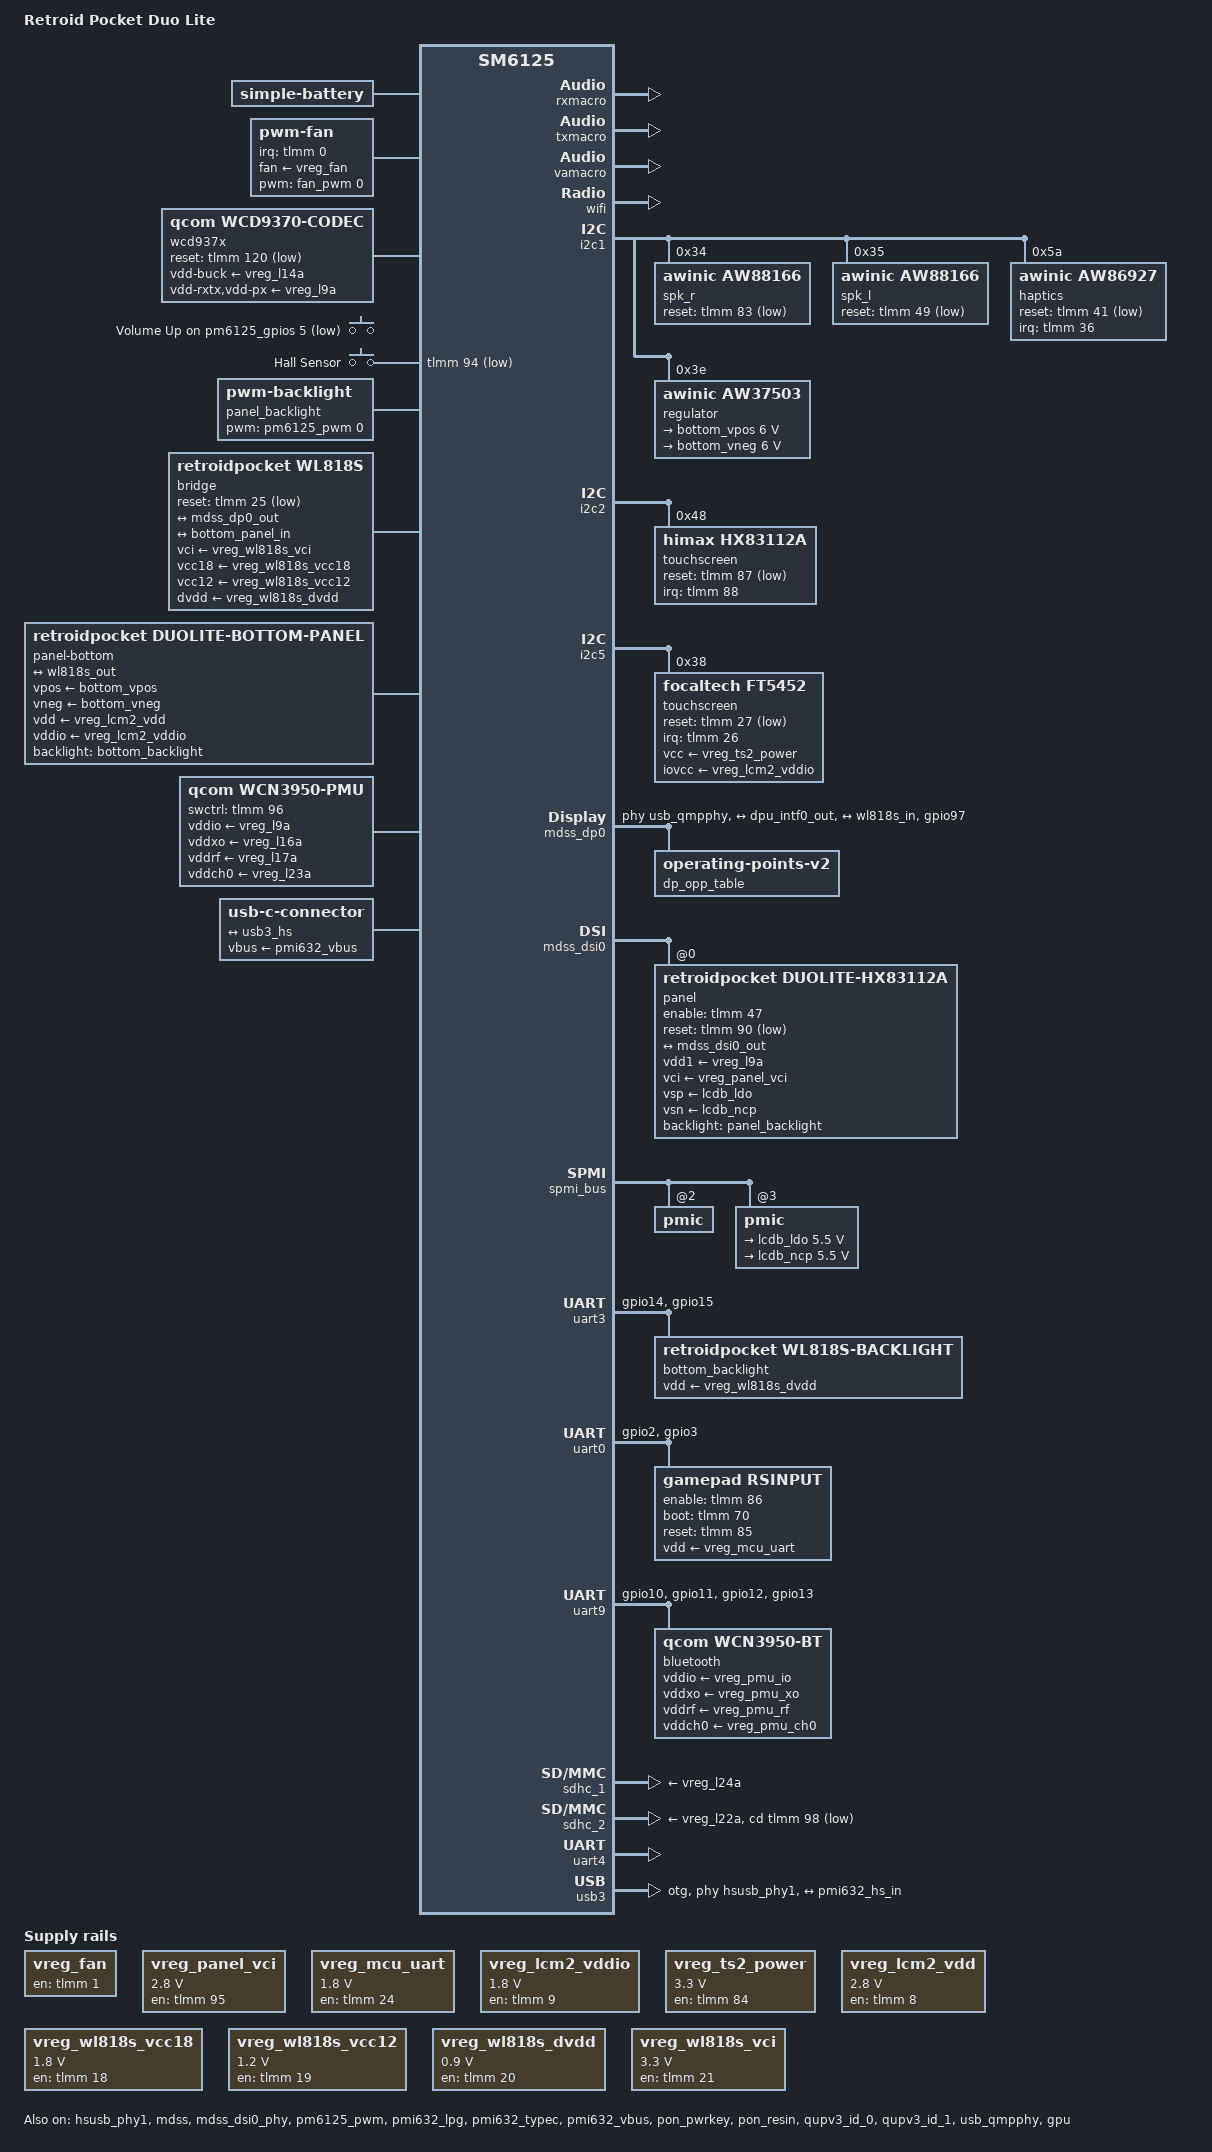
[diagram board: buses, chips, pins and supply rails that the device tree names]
// SPDX-License-Identifier: BSD-3-Clause
/*
 * Copyright (c) 2026, ROCKNIX
 */

/dts-v1/;

#include <dt-bindings/clock/qcom,sm6125-gpucc.h>
#include <dt-bindings/firmware/qcom,scm.h>
#include <dt-bindings/gpio/gpio.h>
#include <dt-bindings/input/input.h>
#include <dt-bindings/input/gpio-keys.h>
#include <dt-bindings/leds/common.h>
#include <dt-bindings/phy/phy-qcom-qmp.h>
#include <dt-bindings/pinctrl/qcom,pmic-gpio.h>
#include <dt-bindings/soc/qcom,apr.h>
#include <dt-bindings/sound/qcom,q6afe.h>
#include <dt-bindings/sound/qcom,q6asm.h>
#include <dt-bindings/thermal/thermal.h>
#include "sm6125.dtsi"
#include "pm6125.dtsi"
#include "pmi632.dtsi"

 /* The fan gains no speed past 75% for some reason, so don't bother going past that. */
#define BIG_CORE_ZONE(_lbl, _node, _sensor)					\
	_node {									\
		polling-delay-passive = <250>;					\
		polling-delay = <1000>;						\
		thermal-sensors = <&tsens0 _sensor>;				\
										\
		trips {								\
			_lbl##_fan0: fan-active0 {				\
				temperature = <45000>;				\
				hysteresis = <5000>;				\
				type = "active";				\
			};							\
			_lbl##_fan1: fan-active1 {				\
				temperature = <50000>;				\
				hysteresis = <5000>;				\
				type = "active";				\
			};							\
			_lbl##_fan2: fan-active2 {				\
				temperature = <60000>;				\
				hysteresis = <5000>;				\
				type = "active";				\
			};							\
			_lbl##_fan3: fan-active3 {				\
				temperature = <70000>;				\
				hysteresis = <5000>;				\
				type = "active";				\
			};							\
			_lbl##_fan4: fan-active4 {				\
				temperature = <80000>;				\
				hysteresis = <5000>;				\
				type = "active";				\
			};							\
			_lbl##_fan5: fan-active5 {				\
				temperature = <85000>;				\
				hysteresis = <2000>;				\
				type = "active";				\
			};							\
			_lbl##_alert: cpu-alert {				\
				temperature = <95000>;				\
				hysteresis = <2000>;				\
				type = "passive";				\
			};							\
			cpu-crit {						\
				temperature = <115000>;				\
				hysteresis = <1000>;				\
				type = "critical";				\
			};							\
		};								\
										\
		cooling-maps {							\
			map0 {							\
				trip = <&_lbl##_fan0>;				\
				cooling-device = <&fan 1 1>;			\
			};							\
			map1 {							\
				trip = <&_lbl##_fan1>;				\
				cooling-device = <&fan 2 2>;			\
			};							\
			map2 {							\
				trip = <&_lbl##_fan2>;				\
				cooling-device = <&fan 3 3>;			\
			};							\
			map3 {							\
				trip = <&_lbl##_fan3>;				\
				cooling-device = <&fan 4 4>;			\
			};							\
			map4 {							\
				trip = <&_lbl##_fan4>;				\
				cooling-device = <&fan 5 5>;			\
			};							\
			map5 {							\
				trip = <&_lbl##_fan5>;				\
				cooling-device = <&fan 6 6>;			\
			};							\
			map6 {							\
				trip = <&_lbl##_alert>;				\
				cooling-device = <&cpu4 THERMAL_NO_LIMIT THERMAL_NO_LIMIT>, \
						 <&cpu5 THERMAL_NO_LIMIT THERMAL_NO_LIMIT>, \
						 <&cpu6 THERMAL_NO_LIMIT THERMAL_NO_LIMIT>, \
						 <&cpu7 THERMAL_NO_LIMIT THERMAL_NO_LIMIT>; \
			};							\
		};								\
	}

#define LITTLE_CLUSTER_ZONE(_lbl, _node, _sensor)				\
	_node {									\
		polling-delay-passive = <250>;					\
		polling-delay = <1000>;						\
		thermal-sensors = <&tsens0 _sensor>;				\
										\
		trips {								\
			_lbl##_alert: cpu-alert {				\
				temperature = <95000>;				\
				hysteresis = <2000>;				\
				type = "passive";				\
			};							\
			cpu-crit {						\
				temperature = <115000>;				\
				hysteresis = <1000>;				\
				type = "critical";				\
			};							\
		};								\
										\
		cooling-maps {							\
			map0 {							\
				trip = <&_lbl##_alert>;				\
				cooling-device = <&cpu0 THERMAL_NO_LIMIT THERMAL_NO_LIMIT>, \
						 <&cpu1 THERMAL_NO_LIMIT THERMAL_NO_LIMIT>, \
						 <&cpu2 THERMAL_NO_LIMIT THERMAL_NO_LIMIT>, \
						 <&cpu3 THERMAL_NO_LIMIT THERMAL_NO_LIMIT>; \
			};							\
		};								\
	}

/ {
	model = "Retroid Pocket Duo Lite";
	compatible = "retroidpocket,duolite", "qcom,sm6125";
	chassis-type = "handset";

	aliases {
		mmc0 = &sdhc_2;
		mmc1 = &sdhc_1;
		serial0 = &uart4;
	};

	battery: battery {
		compatible = "simple-battery";
		voltage-min-design-microvolt = <3400000>;
		voltage-max-design-microvolt = <4500000>;
		charge-full-design-microamp-hours = <6134000>;
		constant-charge-current-max-microamp = <3000000>;
		constant-charge-voltage-max-microvolt = <4500000>;
		charge-term-current-microamp = <250000>;
		id-resistor-ohms = <100000>;

		ocv-capacity-celsius = <25>;
		ocv-capacity-table-0 = <4470400 100 4443000 98 4417400 96 4393300 94
					4369400 92 4346100 90 4322500 88 4298200 86
					4273500 84 4248600 82 4223400 80 4198600 78
					4174200 76 4150200 74 4127000 72 4104400 70
					4082700 68 4061800 66 4041900 64 4023100 62
					4005400 60 3986200 58 3964500 56 3942900 54
					3922400 52 3903000 50 3887800 48 3876000 46
					3865500 44 3855500 42 3846300 40 3838000 38
					3830300 36 3823500 34 3817700 32 3812500 30
					3807500 28 3802900 26 3797200 24 3789800 22
					3781000 20 3770900 18 3758700 16 3743900 14
					3727500 12 3713000 10 3709000 9 3706000 8
					3703800 7 3701700 6 3697300 5 3676000 4
					3631000 3 3568200 2 3477900 1 3000000 0>;
	};

	chosen {
		stdout-path = "serial0:115200n8";
	};

	fan: fan {
		compatible = "pwm-fan";
		pwms = <&fan_pwm 0 20000>;
		cooling-levels = <0 102 125 140 154 169 191>;
		#cooling-cells = <2>;
		fan-supply = <&vreg_fan>;

		interrupts-extended = <&tlmm 0 IRQ_TYPE_EDGE_FALLING>;
		pulses-per-revolution = <2>;

		pinctrl-0 = <&fan_tach_default>;
		pinctrl-names = "default";
	};

	fan_pwm: pwm {
		compatible = "clk-pwm";
		#pwm-cells = <2>;
		clocks = <&gcc GCC_GP1_CLK>;

		/* Only XO keeps the 50 kHz divider within the 8-bit M/N counter */
		assigned-clocks = <&gcc GCC_GP1_CLK_SRC>;
		assigned-clock-parents = <&rpmcc RPM_SMD_XO_CLK_SRC>;

		pinctrl-0 = <&fan_pwm_default>;
		pinctrl-names = "default";
	};

	smp2p-adsp {
		compatible = "qcom,smp2p";
		qcom,smem = <443>, <429>;

		interrupts = <GIC_SPI 393 IRQ_TYPE_EDGE_RISING>;

		mboxes = <&apcs_glb 10>;

		qcom,local-pid = <0>;
		qcom,remote-pid = <2>;

		adsp_smp2p_out: master-kernel {
			qcom,entry-name = "master-kernel";
			#qcom,smem-state-cells = <1>;
		};

		adsp_smp2p_in: slave-kernel {
			qcom,entry-name = "slave-kernel";

			interrupt-controller;
			#interrupt-cells = <2>;
		};

		adsp_sleepstate_out: sleepstate {
			qcom,entry-name = "sleepstate";
			#qcom,smem-state-cells = <1>;
		};

		adsp_sleepstate_in: sleepstate-see {
			qcom,entry-name = "sleepstate_see";

			interrupt-controller;
			#interrupt-cells = <2>;
		};
	};

	smp2p-mpss {
		compatible = "qcom,smp2p";
		qcom,smem = <435>, <428>;

		interrupts = <GIC_SPI 70 IRQ_TYPE_EDGE_RISING>;

		mboxes = <&apcs_glb 14>;

		qcom,local-pid = <0>;
		qcom,remote-pid = <1>;

		modem_smp2p_out: master-kernel {
			qcom,entry-name = "master-kernel";
			#qcom,smem-state-cells = <1>;
		};

		modem_smp2p_in: slave-kernel {
			qcom,entry-name = "slave-kernel";

			interrupt-controller;
			#interrupt-cells = <2>;
		};
	};

	sound {
		compatible = "qcom,qrb4210-rb2-sndcard";
		model = "RetroidPocketDuoLite";

		widgets = "Speaker", "SPK_L Speaker",
			  "Speaker", "SPK_R Speaker";

		pin-switches = "SPK_L Speaker", "SPK_R Speaker";

		audio-routing = "SPK_L Speaker", "SPK_L DAC Output",
				"SPK_R Speaker", "SPK_R DAC Output",
				"IN1_HPHL", "HPHL_OUT",
				"IN2_HPHR", "HPHR_OUT",
				"AMIC2", "MIC BIAS2",
				"TX SWR_INPUT1", "ADC2_OUTPUT";

		pinctrl-0 = <&pri_mi2s_active>, <&dmic23_active>;
		pinctrl-names = "default";

		mm1-dai-link {
			link-name = "MultiMedia1";
			cpu {
				sound-dai = <&q6asmdai MSM_FRONTEND_DAI_MULTIMEDIA1>;
			};
		};

		mm2-dai-link {
			link-name = "MultiMedia2";
			cpu {
				sound-dai = <&q6asmdai MSM_FRONTEND_DAI_MULTIMEDIA2>;
			};
		};

		mm3-dai-link {
			link-name = "MultiMedia3";
			cpu {
				sound-dai = <&q6asmdai MSM_FRONTEND_DAI_MULTIMEDIA3>;
			};
		};

		pri-mi2s-playback-dai-link {
			link-name = "Primary MI2S Playback";
			cpu {
				sound-dai = <&q6afedai PRIMARY_MI2S_RX>;
			};

			platform {
				sound-dai = <&q6routing>;
			};

			codec {
				sound-dai = <&spk_l>, <&spk_r>;
			};
		};

		wcd-playback-dai-link {
			link-name = "WCD Playback";
			cpu {
				sound-dai = <&q6afedai RX_CODEC_DMA_RX_0>;
			};

			platform {
				sound-dai = <&q6routing>;
			};

			codec {
				sound-dai = <&wcd937x 0>, <&swr_rx 0>, <&rxmacro 0>;
			};
		};

		wcd-capture-dai-link {
			link-name = "WCD Capture";
			cpu {
				sound-dai = <&q6afedai TX_CODEC_DMA_TX_3>;
			};

			platform {
				sound-dai = <&q6routing>;
			};

			codec {
				sound-dai = <&wcd937x 1>, <&swr_tx 0>, <&txmacro 0>;
			};
		};
	};

	wcd937x: audio-codec {
		compatible = "qcom,wcd9370-codec";

		pinctrl-0 = <&wcd_reset_default>;
		pinctrl-names = "default";

		reset-gpios = <&tlmm 120 GPIO_ACTIVE_LOW>;

		vdd-buck-supply = <&vreg_l14a>;
		vdd-rxtx-supply = <&vreg_l9a>;
		vdd-px-supply = <&vreg_l9a>;

		qcom,micbias1-microvolt = <1800000>;
		qcom,micbias2-microvolt = <1800000>;
		qcom,micbias3-microvolt = <1800000>;

		qcom,rx-device = <&wcd937x_rx>;
		qcom,tx-device = <&wcd937x_tx>;

		qcom,mbhc-buttons-vthreshold-microvolt = <75000 150000 237000
							  500000 500000 500000
							  500000 500000>;
		qcom,mbhc-headphone-vthreshold-microvolt = <50000>;
		qcom,mbhc-headset-vthreshold-microvolt = <1700000>;

		#sound-dai-cells = <1>;
	};

	vreg_fan: regulator-fan {
		compatible = "regulator-fixed";
		regulator-name = "fan";

		gpio = <&tlmm 1 GPIO_ACTIVE_HIGH>;
		enable-active-high;

		pinctrl-0 = <&fan_en_default>;
		pinctrl-names = "default";
	};

	thermal-zones {
		LITTLE_CLUSTER_ZONE(cpuss0, cpuss-0-thermal, 6);
		LITTLE_CLUSTER_ZONE(cpuss1, cpuss-1-thermal, 7);
		LITTLE_CLUSTER_ZONE(cpuss2, cpuss-2-thermal, 8);
		BIG_CORE_ZONE(cpu10, cpu-1-0-thermal, 9);
		BIG_CORE_ZONE(cpu11, cpu-1-1-thermal, 10);
		BIG_CORE_ZONE(cpu12, cpu-1-2-thermal, 11);
		BIG_CORE_ZONE(cpu13, cpu-1-3-thermal, 12);

		gpu-thermal {
			polling-delay-passive = <250>;
			polling-delay = <1000>;
			thermal-sensors = <&tsens0 15>;

			trips {
				gpu_alert: gpu-alert {
					temperature = <95000>;
					hysteresis = <2000>;
					type = "passive";
				};

				gpu-crit {
					temperature = <115000>;
					hysteresis = <1000>;
					type = "critical";
				};
			};

			cooling-maps {
				map0 {
					trip = <&gpu_alert>;
					cooling-device = <&gpu THERMAL_NO_LIMIT THERMAL_NO_LIMIT>;
				};
			};
		};

		pmi632-thermal {
			polling-delay = <1000>;

			trips {
				pmi632_charger_warm: charger-warm {
					temperature = <70000>;
					hysteresis = <2000>;
					type = "passive";
				};

				pmi632_charger_hot: charger-hot {
					temperature = <80000>;
					hysteresis = <2000>;
					type = "passive";
				};

				pmi632_charger_very_hot: charger-very-hot {
					temperature = <90000>;
					hysteresis = <2000>;
					type = "passive";
				};
			};

			cooling-maps {
				map-charger-warm {
					trip = <&pmi632_charger_warm>;
					cooling-device = <&pmi632_charger 1 1>;
				};

				map-charger-hot {
					trip = <&pmi632_charger_hot>;
					cooling-device = <&pmi632_charger 2 2>;
				};

				map-charger-very-hot {
					trip = <&pmi632_charger_very_hot>;
					cooling-device = <&pmi632_charger 3 3>;
				};
			};
		};
	};

	gpio-keys {
		compatible = "gpio-keys";

		pinctrl-0 = <&vol_up_n>;
		pinctrl-names = "default";

		key-volume-up {
			label = "Volume Up";
			gpios = <&pm6125_gpios 5 GPIO_ACTIVE_LOW>;
			linux,code = <KEY_VOLUMEUP>;
			debounce-interval = <15>;
			linux,can-disable;
			wakeup-source;
		};
	};

	gpio-keys-lid {
		compatible = "gpio-keys";

		pinctrl-0 = <&hall_default>;
		pinctrl-names = "default";

		lid-switch {
			label = "Hall Sensor";
			gpios = <&tlmm 94 GPIO_ACTIVE_LOW>;
			linux,code = <SW_LID>;
			linux,input-type = <EV_SW>;
			linux,can-disable;
			wakeup-source;
		};
	};

	panel_backlight: backlight {
		compatible = "pwm-backlight";
		pwms = <&pm6125_pwm 0 100000>;

		brightness-levels = <0 255>;
		num-interpolated-steps = <255>;
		default-brightness-level = <200>;
	};

	bridge {
		compatible = "retroidpocket,wl818s";

		vci-supply = <&vreg_wl818s_vci>;
		vcc18-supply = <&vreg_wl818s_vcc18>;
		vcc12-supply = <&vreg_wl818s_vcc12>;
		dvdd-supply = <&vreg_wl818s_dvdd>;

		reset-gpios = <&tlmm 25 GPIO_ACTIVE_LOW>;

		pinctrl-0 = <&wl818s_boot_default>;
		pinctrl-names = "default";

		ports {
			#address-cells = <1>;
			#size-cells = <0>;

			port@0 {
				reg = <0>;

				wl818s_in: endpoint {
					remote-endpoint = <&mdss_dp0_out>;
				};
			};

			port@1 {
				reg = <1>;

				wl818s_out: endpoint {
					remote-endpoint = <&bottom_panel_in>;
				};
			};
		};
	};

	panel-bottom {
		compatible = "retroidpocket,duolite-bottom-panel";

		vpos-supply = <&bottom_vpos>;
		vneg-supply = <&bottom_vneg>;
		vdd-supply = <&vreg_lcm2_vdd>;
		vddio-supply = <&vreg_lcm2_vddio>;
		backlight = <&bottom_backlight>;

		port {
			bottom_panel_in: endpoint {
				remote-endpoint = <&wl818s_out>;
			};
		};
	};

	vreg_panel_vci: regulator-panel-vci {
		compatible = "regulator-fixed";
		regulator-name = "panel_vci";
		regulator-min-microvolt = <2800000>;
		regulator-max-microvolt = <2800000>;

		gpio = <&tlmm 95 GPIO_ACTIVE_HIGH>;
		enable-active-high;

		pinctrl-0 = <&panel_vci_en>;
		pinctrl-names = "default";
	};

	vreg_mcu_uart: regulator-mcu-uart {
		compatible = "regulator-fixed";
		regulator-name = "mcu_uart";
		regulator-min-microvolt = <1800000>;
		regulator-max-microvolt = <1800000>;

		gpio = <&tlmm 24 GPIO_ACTIVE_HIGH>;
		enable-active-high;
		startup-delay-us = <20000>;
	};

	vreg_lcm2_vddio: regulator-lcm2-vddio {
		compatible = "regulator-fixed";
		regulator-name = "lcm2_vddio";
		regulator-min-microvolt = <1800000>;
		regulator-max-microvolt = <1800000>;

		gpio = <&tlmm 9 GPIO_ACTIVE_HIGH>;
		enable-active-high;
	};

	vreg_ts2_power: regulator-ts2-power {
		compatible = "regulator-fixed";
		regulator-name = "ts2_power";
		regulator-min-microvolt = <3300000>;
		regulator-max-microvolt = <3300000>;

		gpio = <&tlmm 84 GPIO_ACTIVE_HIGH>;
		enable-active-high;
	};

	vreg_lcm2_vdd: regulator-lcm2-vdd {
		compatible = "regulator-fixed";
		regulator-name = "lcm2_vdd";
		regulator-min-microvolt = <2800000>;
		regulator-max-microvolt = <2800000>;

		gpio = <&tlmm 8 GPIO_ACTIVE_HIGH>;
		enable-active-high;
	};

	vreg_wl818s_vcc18: regulator-wl818s-vcc18 {
		compatible = "regulator-fixed";
		regulator-name = "wl818s_vcc18";
		regulator-min-microvolt = <1800000>;
		regulator-max-microvolt = <1800000>;

		gpio = <&tlmm 18 GPIO_ACTIVE_HIGH>;
		enable-active-high;
	};

	vreg_wl818s_vcc12: regulator-wl818s-vcc12 {
		compatible = "regulator-fixed";
		regulator-name = "wl818s_vcc12";
		regulator-min-microvolt = <1200000>;
		regulator-max-microvolt = <1200000>;

		gpio = <&tlmm 19 GPIO_ACTIVE_HIGH>;
		enable-active-high;
	};

	vreg_wl818s_dvdd: regulator-wl818s-dvdd {
		compatible = "regulator-fixed";
		regulator-name = "wl818s_dvdd";
		regulator-min-microvolt = <900000>;
		regulator-max-microvolt = <900000>;

		gpio = <&tlmm 20 GPIO_ACTIVE_HIGH>;
		enable-active-high;
	};

	vreg_wl818s_vci: regulator-wl818s-vci {
		compatible = "regulator-fixed";
		regulator-name = "wl818s_vci";
		regulator-min-microvolt = <3300000>;
		regulator-max-microvolt = <3300000>;

		gpio = <&tlmm 21 GPIO_ACTIVE_HIGH>;
		enable-active-high;
	};

	wcn3950-pmu {
		compatible = "qcom,wcn3950-pmu";

		pinctrl-0 = <&sw_ctrl_default>;
		pinctrl-names = "default";

		vddio-supply = <&vreg_l9a>;
		vddxo-supply = <&vreg_l16a>;
		vddrf-supply = <&vreg_l17a>;
		vddch0-supply = <&vreg_l23a>;

		swctrl-gpios = <&tlmm 96 GPIO_ACTIVE_HIGH>;

		regulators {
			vreg_pmu_io: ldo0 {
				regulator-name = "vreg_pmu_io";
			};

			vreg_pmu_xo: ldo1 {
				regulator-name = "vreg_pmu_xo";
			};

			vreg_pmu_rf: ldo2 {
				regulator-name = "vreg_pmu_rf";
			};

			vreg_pmu_ch0: ldo3 {
				regulator-name = "vreg_pmu_ch0";
			};
		};
	};
};

/*
 * The hypervisor owns 73 MiB here, not the 45 MiB sm6125.dtsi reserves;
 * see "arm64: dts: qcom: sm6125-xiaomi-laurel-sprout: enlarge reserved_mem1".
 */
&reserved_mem1 {
	reg = <0x0 0x46200000 0x0 0x4900000>;
};

/* Stock allocates this dynamically; the sm6115 placement is free here */
&reserved_memory {
	rmtfs_mem: memory@89b01000 {
		compatible = "qcom,rmtfs-mem";
		reg = <0x0 0x89b01000 0x0 0x200000>;
		no-map;

		qcom,client-id = <1>;
		qcom,vmid = <QCOM_SCM_VMID_MSS_MSA QCOM_SCM_VMID_NAV>;
	};
};

/* Same OSM cpufreq block and layout as SM6115, missing from sm6125.dtsi */
&{/soc@0} {
	tcsr: syscon@3c0000 {
		compatible = "qcom,sm6125-tcsr", "syscon";
		reg = <0x003c0000 0x40000>;
	};

	usb_qmpphy: phy@1615000 {
		compatible = "qcom,sm6125-qmp-usb3-dp-phy",
			     "qcom,qcs615-qmp-usb3-dp-phy";
		reg = <0x01615000 0x2000>;

		clocks = <&gcc GCC_USB3_PRIM_PHY_COM_AUX_CLK>,
			 <&gcc GCC_USB3_PRIM_CLKREF_CLK>,
			 <&gcc GCC_AHB2PHY_USB_CLK>,
			 <&gcc GCC_USB3_PRIM_PHY_PIPE_CLK>;
		clock-names = "aux",
			      "ref",
			      "cfg_ahb",
			      "pipe";

		resets = <&gcc GCC_USB3PHY_PHY_PRIM_SP0_BCR>,
			 <&gcc GCC_USB3_PHY_PRIM_SP0_BCR>;
		reset-names = "phy_phy",
			      "dp_phy";

		vdda-phy-supply = <&vreg_l7a>;
		vdda-pll-supply = <&vreg_l10a>;

		#clock-cells = <1>;
		#phy-cells = <1>;

		qcom,tcsr-reg = <&tcsr 0xb244 0xb248>;

		status = "okay";
	};

	gpu: gpu@5900000 {
		compatible = "qcom,adreno-610.0", "qcom,adreno";
		reg = <0x05900000 0x40000>,
		      <0x0599e000 0x1000>,
		      <0x05961000 0x800>;
		reg-names = "kgsl_3d0_reg_memory",
			    "cx_mem",
			    "cx_dbgc";

		clocks = <&gpucc GPU_CC_GX_GFX3D_CLK>,
			 <&gpucc GPU_CC_AHB_CLK>,
			 <&gcc GCC_BIMC_GPU_AXI_CLK>,
			 <&gcc GCC_GPU_MEMNOC_GFX_CLK>,
			 <&gpucc GPU_CC_CX_GMU_CLK>,
			 <&gpucc GPU_CC_CXO_CLK>;
		clock-names = "core",
			      "iface",
			      "mem_iface",
			      "alt_mem_iface",
			      "gmu",
			      "xo";

		interrupts = <GIC_SPI 177 IRQ_TYPE_LEVEL_HIGH>;

		iommus = <&adreno_smmu 0 1>;
		operating-points-v2 = <&gpu_opp_table>;
		power-domains = <&rpmpd RPMPD_VDDCX>;
		qcom,gmu = <&gmu_wrapper>;

		#cooling-cells = <2>;

		status = "okay";

		gpu_zap_shader: zap-shader {
			memory-region = <&gpu_mem>;
			firmware-name = "qcom/sm6125/a610_zap.mbn";
		};

		gpu_opp_table: opp-table {
			compatible = "operating-points-v2";

			opp-320000000 {
				opp-hz = /bits/ 64 <320000000>;
				required-opps = <&rpmpd_opp_low_svs>;
			};

			opp-465000000 {
				opp-hz = /bits/ 64 <465000000>;
				required-opps = <&rpmpd_opp_svs>;
			};

			opp-600000000 {
				opp-hz = /bits/ 64 <600000000>;
				required-opps = <&rpmpd_opp_svs_plus>;
			};

			opp-745000000 {
				opp-hz = /bits/ 64 <745000000>;
				required-opps = <&rpmpd_opp_nom>;
			};

			opp-820000000 {
				opp-hz = /bits/ 64 <820000000>;
				required-opps = <&rpmpd_opp_nom_plus>;
			};

			opp-900000000 {
				opp-hz = /bits/ 64 <900000000>;
				required-opps = <&rpmpd_opp_turbo>;
			};

			/* Downstream TURBO_L1; stability still unverified */
			opp-950000000 {
				opp-hz = /bits/ 64 <950000000>;
				required-opps = <&rpmpd_opp_turbo_no_cpr>;
			};
		};
	};

	gmu_wrapper: gmu@596a000 {
		compatible = "qcom,adreno-gmu-wrapper";
		reg = <0x0596a000 0x30000>;
		reg-names = "gmu";
		power-domains = <&gpucc GPU_CX_GDSC>,
				<&gpucc GPU_GX_GDSC>;
		power-domain-names = "cx", "gx";
	};

	gpucc: clock-controller@5990000 {
		compatible = "qcom,sm6125-gpucc";
		reg = <0x05990000 0x9000>;
		clocks = <&rpmcc RPM_SMD_XO_CLK_SRC>,
			 <&gcc GCC_GPU_GPLL0_CLK_SRC>;
		#clock-cells = <1>;
		#power-domain-cells = <1>;
	};

	adreno_smmu: iommu@59a0000 {
		compatible = "qcom,sm6125-smmu-500", "qcom,adreno-smmu",
			     "qcom,smmu-500", "arm,mmu-500";
		reg = <0x059a0000 0x10000>;
		interrupts = <GIC_SPI 163 IRQ_TYPE_LEVEL_HIGH>,
			     <GIC_SPI 167 IRQ_TYPE_LEVEL_HIGH>,
			     <GIC_SPI 168 IRQ_TYPE_LEVEL_HIGH>,
			     <GIC_SPI 169 IRQ_TYPE_LEVEL_HIGH>,
			     <GIC_SPI 170 IRQ_TYPE_LEVEL_HIGH>,
			     <GIC_SPI 171 IRQ_TYPE_LEVEL_HIGH>,
			     <GIC_SPI 172 IRQ_TYPE_LEVEL_HIGH>,
			     <GIC_SPI 173 IRQ_TYPE_LEVEL_HIGH>,
			     <GIC_SPI 174 IRQ_TYPE_LEVEL_HIGH>;

		clocks = <&gcc GCC_GPU_MEMNOC_GFX_CLK>,
			 <&gpucc GPU_CC_HLOS1_VOTE_GPU_SMMU_CLK>,
			 <&gcc GCC_GPU_SNOC_DVM_GFX_CLK>;
		clock-names = "mem",
			      "hlos",
			      "iface";
		power-domains = <&gpucc GPU_CX_GDSC>;

		#global-interrupts = <1>;
		#iommu-cells = <2>;
	};

	cpufreq_hw: cpufreq@f521000 {
		compatible = "qcom,sm6125-cpufreq-hw", "qcom,cpufreq-hw";
		reg = <0x0f521000 0x1000>,
		      <0x0f523000 0x1000>;
		reg-names = "freq-domain0", "freq-domain1";

		clocks = <&rpmcc RPM_SMD_XO_CLK_SRC>, <&gcc GPLL0_OUT_EARLY>;
		clock-names = "xo", "alternate";

		#freq-domain-cells = <1>;
		#clock-cells = <1>;
	};

	tsens0: thermal-sensor@4411000 {
		compatible = "qcom,sm6125-tsens", "qcom,tsens-v2";
		reg = <0x04411000 0x1ff>, /* TM */
		      <0x04410000 0x8>; /* SROT */
		#qcom,sensors = <16>;
		interrupts = <GIC_SPI 190 IRQ_TYPE_LEVEL_HIGH>;
		interrupt-names = "critical";
		#thermal-sensor-cells = <1>;
	};

	rxmacro: codec@a440000 {
		compatible = "qcom,sm6125-lpass-rx-macro", "qcom,sm6115-lpass-rx-macro";
		reg = <0x0a440000 0x1000>;

		clocks = <&q6afecc LPASS_CLK_ID_RX_CORE_MCLK LPASS_CLK_ATTRIBUTE_COUPLE_NO>,
			 <&q6afecc LPASS_CLK_ID_RX_CORE_NPL_MCLK LPASS_CLK_ATTRIBUTE_COUPLE_NO>,
			 <&vamacro>;
		clock-names = "mclk", "npl", "fsgen";

		assigned-clocks = <&q6afecc LPASS_CLK_ID_RX_CORE_MCLK LPASS_CLK_ATTRIBUTE_COUPLE_NO>,
				  <&q6afecc LPASS_CLK_ID_RX_CORE_NPL_MCLK LPASS_CLK_ATTRIBUTE_COUPLE_NO>;
		assigned-clock-rates = <22579200>, <22579200>;

		#clock-cells = <0>;
		clock-output-names = "mclk";
		#sound-dai-cells = <1>;
	};

	swr_rx: soundwire@a450000 {
		compatible = "qcom,soundwire-v1.5.1";
		reg = <0x0a450000 0x2000>;
		interrupts = <GIC_SPI 188 IRQ_TYPE_LEVEL_HIGH>;
		clocks = <&rxmacro>;
		clock-names = "iface";
		label = "RX";

		pinctrl-0 = <&rx_swr_active>;
		pinctrl-names = "default";

		qcom,din-ports = <0>;
		qcom,dout-ports = <5>;

		qcom,ports-word-length =	/bits/ 8 <0x01 0x07 0x04 0xff 0xff>;
		qcom,ports-sinterval-low =	/bits/ 8 <0x03 0x3f 0x1f 0x03 0x03>;
		qcom,ports-offset1 =		/bits/ 8 <0x00 0x00 0x0b 0x01 0x01>;
		qcom,ports-offset2 =		/bits/ 8 <0x00 0x00 0x0b 0x00 0x00>;
		qcom,ports-lane-control =	/bits/ 8 <0x01 0x00 0x00 0x00 0x00>;
		qcom,ports-block-pack-mode =	/bits/ 8 <0xff 0x00 0x01 0xff 0xff>;
		qcom,ports-hstart =		/bits/ 8 <0xff 0x03 0xff 0xff 0xff>;
		qcom,ports-hstop =		/bits/ 8 <0xff 0x06 0xff 0xff 0xff>;
		qcom,ports-block-group-count =	/bits/ 8 <0xff 0xff 0xff 0xff 0x00>;

		#sound-dai-cells = <1>;
		#address-cells = <2>;
		#size-cells = <0>;

		wcd937x_rx: codec@0,4 {
			compatible = "sdw20217010a00";
			reg = <0 4>;
			qcom,rx-port-mapping = <1 2 3 4 5>;
		};
	};

	txmacro: codec@a460000 {
		compatible = "qcom,sm6125-lpass-tx-macro", "qcom,sm6115-lpass-tx-macro";
		reg = <0x0a460000 0x1000>;

		clocks = <&q6afecc LPASS_CLK_ID_TX_CORE_MCLK LPASS_CLK_ATTRIBUTE_COUPLE_NO>,
			 <&q6afecc LPASS_CLK_ID_TX_CORE_NPL_MCLK LPASS_CLK_ATTRIBUTE_COUPLE_NO>,
			 <&vamacro>;
		clock-names = "mclk", "npl", "fsgen";

		assigned-clocks = <&q6afecc LPASS_CLK_ID_TX_CORE_MCLK LPASS_CLK_ATTRIBUTE_COUPLE_NO>,
				  <&q6afecc LPASS_CLK_ID_TX_CORE_NPL_MCLK LPASS_CLK_ATTRIBUTE_COUPLE_NO>;
		assigned-clock-rates = <19200000>, <19200000>;

		#clock-cells = <0>;
		clock-output-names = "mclk";
		#sound-dai-cells = <1>;
	};

	swr_tx: soundwire@a470000 {
		compatible = "qcom,soundwire-v1.5.1";
		reg = <0x0a470000 0x2000>;
		interrupts = <GIC_SPI 184 IRQ_TYPE_LEVEL_HIGH>;
		clocks = <&txmacro>;
		clock-names = "iface";
		label = "TX";

		pinctrl-0 = <&tx_swr_active>;
		pinctrl-names = "default";

		qcom,din-ports = <3>;
		qcom,dout-ports = <0>;

		qcom,ports-sinterval-low =	/bits/ 8 <0x01 0x03 0x03>;
		qcom,ports-offset1 =		/bits/ 8 <0x01 0x00 0x02>;
		qcom,ports-offset2 =		/bits/ 8 <0x00 0x00 0x00>;
		qcom,ports-hstart =		/bits/ 8 <0xff 0xff 0xff>;
		qcom,ports-hstop =		/bits/ 8 <0xff 0xff 0xff>;
		qcom,ports-word-length =	/bits/ 8 <0xff 0x00 0xff>;
		qcom,ports-block-pack-mode =	/bits/ 8 <0xff 0xff 0xff>;
		qcom,ports-block-group-count =	/bits/ 8 <0xff 0xff 0xff>;
		qcom,ports-lane-control =	/bits/ 8 <0x00 0x01 0x00>;

		#sound-dai-cells = <1>;
		#address-cells = <2>;
		#size-cells = <0>;

		wcd937x_tx: codec@0,3 {
			compatible = "sdw20217010a00";
			reg = <0 3>;
			qcom,tx-port-mapping = <1 1 2 3>;
		};
	};

	vamacro: codec@a4a0000 {
		compatible = "qcom,sm6125-lpass-va-macro", "qcom,sm8250-lpass-va-macro";
		reg = <0x0a4a0000 0x1000>;

		clocks = <&q6afecc LPASS_CLK_ID_TX_CORE_MCLK LPASS_CLK_ATTRIBUTE_COUPLE_NO>;
		clock-names = "mclk";

		assigned-clocks = <&q6afecc LPASS_CLK_ID_TX_CORE_MCLK LPASS_CLK_ATTRIBUTE_COUPLE_NO>;
		assigned-clock-rates = <19200000>;

		#clock-cells = <0>;
		clock-output-names = "fsgen";
		#sound-dai-cells = <1>;
	};

	remoteproc_mpss: remoteproc@6080000 {
		compatible = "qcom,sm6125-mpss-pas", "qcom,sm6115-mpss-pas";
		reg = <0x06080000 0x100>;

		interrupts-extended = <&intc GIC_SPI 307 IRQ_TYPE_EDGE_RISING>,
				      <&modem_smp2p_in 0 IRQ_TYPE_EDGE_RISING>,
				      <&modem_smp2p_in 1 IRQ_TYPE_EDGE_RISING>,
				      <&modem_smp2p_in 2 IRQ_TYPE_EDGE_RISING>,
				      <&modem_smp2p_in 3 IRQ_TYPE_EDGE_RISING>,
				      <&modem_smp2p_in 7 IRQ_TYPE_EDGE_RISING>;
		interrupt-names = "wdog", "fatal", "ready", "handover",
				  "stop-ack", "shutdown-ack";

		clocks = <&rpmcc RPM_SMD_XO_CLK_SRC>;
		clock-names = "xo";

		power-domains = <&rpmpd SM6125_VDDCX>;

		memory-region = <&modem_mem>;

		qcom,smem-states = <&modem_smp2p_out 0>;
		qcom,smem-state-names = "stop";

		firmware-name = "qcom/sm6125/modem.mbn";

		glink-edge {
			interrupts = <GIC_SPI 68 IRQ_TYPE_EDGE_RISING>;
			label = "mpss";
			qcom,remote-pid = <1>;
			mboxes = <&apcs_glb 12>;
		};
	};

	/* The stock "trinket" ADSP matches the SM6115 PAS profile; values are from it */
	remoteproc_adsp: remoteproc@ab00000 {
		compatible = "qcom,sm6125-adsp-pas", "qcom,sm6115-adsp-pas";
		reg = <0x0ab00000 0x100>;

		interrupts-extended = <&intc GIC_SPI 396 IRQ_TYPE_EDGE_RISING>,
				      <&adsp_smp2p_in 0 IRQ_TYPE_EDGE_RISING>,
				      <&adsp_smp2p_in 1 IRQ_TYPE_EDGE_RISING>,
				      <&adsp_smp2p_in 2 IRQ_TYPE_EDGE_RISING>,
				      <&adsp_smp2p_in 3 IRQ_TYPE_EDGE_RISING>;
		interrupt-names = "wdog", "fatal", "ready",
				  "handover", "stop-ack";

		clocks = <&rpmcc RPM_SMD_XO_CLK_SRC>;
		clock-names = "xo";

		memory-region = <&adsp_pil_mem>;

		qcom,smem-states = <&adsp_smp2p_out 0>;
		qcom,smem-state-names = "stop";

		firmware-name = "qcom/sm6125/adsp.mbn";

		glink-edge {
			interrupts = <GIC_SPI 391 IRQ_TYPE_EDGE_RISING>;
			label = "lpass";
			qcom,remote-pid = <2>;
			mboxes = <&apcs_glb 8>;

			apr {
				compatible = "qcom,apr-v2";
				qcom,glink-channels = "apr_audio_svc";
				qcom,domain = <APR_DOMAIN_ADSP>;
				#address-cells = <1>;
				#size-cells = <0>;

				service@3 {
					reg = <APR_SVC_ADSP_CORE>;
					compatible = "qcom,q6core";
					qcom,protection-domain = "avs/audio",
								 "msm/adsp/audio_pd";
				};

				q6afe: service@4 {
					compatible = "qcom,q6afe";
					reg = <APR_SVC_AFE>;
					qcom,protection-domain = "avs/audio",
								 "msm/adsp/audio_pd";

					q6afedai: dais {
						compatible = "qcom,q6afe-dais";
						#address-cells = <1>;
						#size-cells = <0>;
						#sound-dai-cells = <1>;

						/* Stock enables both data lines; start with SD0 */
						dai@16 {
							reg = <PRIMARY_MI2S_RX>;
							qcom,sd-lines = <0>;
						};
					};

					q6afecc: clock-controller {
						compatible = "qcom,q6afe-clocks";
						#clock-cells = <2>;
					};
				};

				q6asm: service@7 {
					compatible = "qcom,q6asm";
					reg = <APR_SVC_ASM>;
					qcom,protection-domain = "avs/audio",
								 "msm/adsp/audio_pd";

					q6asmdai: dais {
						compatible = "qcom,q6asm-dais";
						#address-cells = <1>;
						#size-cells = <0>;
						#sound-dai-cells = <1>;
						iommus = <&apps_smmu 0x41 0x0>;

						dai@0 {
							reg = <MSM_FRONTEND_DAI_MULTIMEDIA1>;
						};

						dai@1 {
							reg = <MSM_FRONTEND_DAI_MULTIMEDIA2>;
						};

						dai@2 {
							reg = <MSM_FRONTEND_DAI_MULTIMEDIA3>;
						};
					};
				};

				q6adm: service@8 {
					compatible = "qcom,q6adm";
					reg = <APR_SVC_ADM>;
					qcom,protection-domain = "avs/audio",
								 "msm/adsp/audio_pd";

					q6routing: routing {
						compatible = "qcom,q6adm-routing";
						#sound-dai-cells = <0>;
					};
				};
			};
		};
	};

	wifi: wifi@c800000 {
		compatible = "qcom,wcn3990-wifi";
		reg = <0x0c800000 0x800000>;
		reg-names = "membase";
		memory-region = <&wlan_msa_mem>;
		interrupts = <GIC_SPI 358 IRQ_TYPE_LEVEL_HIGH>,
			     <GIC_SPI 359 IRQ_TYPE_LEVEL_HIGH>,
			     <GIC_SPI 360 IRQ_TYPE_LEVEL_HIGH>,
			     <GIC_SPI 361 IRQ_TYPE_LEVEL_HIGH>,
			     <GIC_SPI 362 IRQ_TYPE_LEVEL_HIGH>,
			     <GIC_SPI 363 IRQ_TYPE_LEVEL_HIGH>,
			     <GIC_SPI 364 IRQ_TYPE_LEVEL_HIGH>,
			     <GIC_SPI 365 IRQ_TYPE_LEVEL_HIGH>,
			     <GIC_SPI 366 IRQ_TYPE_LEVEL_HIGH>,
			     <GIC_SPI 367 IRQ_TYPE_LEVEL_HIGH>,
			     <GIC_SPI 368 IRQ_TYPE_LEVEL_HIGH>,
			     <GIC_SPI 369 IRQ_TYPE_LEVEL_HIGH>;
		iommus = <&apps_smmu 0x80 0x1>;
		qcom,msa-fixed-perm;

		vdd-0.8-cx-mx-supply = <&vreg_l8a>;
		vdd-1.8-xo-supply = <&vreg_pmu_xo>;
		vdd-1.3-rfa-supply = <&vreg_pmu_rf>;
		vdd-3.3-ch0-supply = <&vreg_pmu_ch0>;

		firmware-name = "retroid-duolite";
	};
};

&cpu0 {
	clocks = <&cpufreq_hw 0>;
	power-domains = <&cpu_pd0>;
	power-domain-names = "psci";
	qcom,freq-domain = <&cpufreq_hw 0>;
	#cooling-cells = <2>;
};

&cpu1 {
	clocks = <&cpufreq_hw 0>;
	power-domains = <&cpu_pd1>;
	power-domain-names = "psci";
	qcom,freq-domain = <&cpufreq_hw 0>;
	#cooling-cells = <2>;
};

&cpu2 {
	clocks = <&cpufreq_hw 0>;
	power-domains = <&cpu_pd2>;
	power-domain-names = "psci";
	qcom,freq-domain = <&cpufreq_hw 0>;
	#cooling-cells = <2>;
};

&cpu3 {
	clocks = <&cpufreq_hw 0>;
	power-domains = <&cpu_pd3>;
	power-domain-names = "psci";
	qcom,freq-domain = <&cpufreq_hw 0>;
	#cooling-cells = <2>;
};

&cpu4 {
	clocks = <&cpufreq_hw 1>;
	power-domains = <&cpu_pd4>;
	power-domain-names = "psci";
	qcom,freq-domain = <&cpufreq_hw 1>;
	#cooling-cells = <2>;
};

&cpu5 {
	clocks = <&cpufreq_hw 1>;
	power-domains = <&cpu_pd5>;
	power-domain-names = "psci";
	qcom,freq-domain = <&cpufreq_hw 1>;
	#cooling-cells = <2>;
};

&cpu6 {
	clocks = <&cpufreq_hw 1>;
	power-domains = <&cpu_pd6>;
	power-domain-names = "psci";
	qcom,freq-domain = <&cpufreq_hw 1>;
	#cooling-cells = <2>;
};

&cpu7 {
	clocks = <&cpufreq_hw 1>;
	power-domains = <&cpu_pd7>;
	power-domain-names = "psci";
	qcom,freq-domain = <&cpufreq_hw 1>;
	#cooling-cells = <2>;
};

&hsusb_phy1 {
	vdd-supply = <&vreg_l7a>;
	vdda-pll-supply = <&vreg_l10a>;
	vdda-phy-dpdm-supply = <&vreg_l15a>;
	status = "okay";
};

&i2c1 {
	status = "okay";

	spk_r: audio-codec@34 {
		compatible = "awinic,aw88166";
		reg = <0x34>;
		reset-gpios = <&tlmm 83 GPIO_ACTIVE_LOW>;
		firmware-name = "qcom/sm6125/aw883xx_acf.bin";
		awinic,audio-channel = <1>;
		awinic,sync-flag;
		sound-name-prefix = "SPK_R";
		#sound-dai-cells = <0>;
	};

	spk_l: audio-codec@35 {
		compatible = "awinic,aw88166";
		reg = <0x35>;
		reset-gpios = <&tlmm 49 GPIO_ACTIVE_LOW>;
		firmware-name = "qcom/sm6125/aw883xx_acf.bin";
		awinic,audio-channel = <0>;
		awinic,sync-flag;
		sound-name-prefix = "SPK_L";
		#sound-dai-cells = <0>;
	};

	haptics@5a {
		compatible = "awinic,aw86927";
		reg = <0x5a>;
		interrupts-extended = <&tlmm 36 IRQ_TYPE_EDGE_FALLING>;
		reset-gpios = <&tlmm 41 GPIO_ACTIVE_LOW>;
	};

	/* Bias for the bottom panel behind the WL818S bridge */
	regulator@3e {
		compatible = "awinic,aw37503";
		reg = <0x3e>;

		bottom_vpos: outp {
			regulator-name = "bottom_vpos";
			regulator-min-microvolt = <6000000>;
			regulator-max-microvolt = <6000000>;
			enable-gpios = <&tlmm 58 GPIO_ACTIVE_HIGH>;
		};

		bottom_vneg: outn {
			regulator-name = "bottom_vneg";
			regulator-min-microvolt = <6000000>;
			regulator-max-microvolt = <6000000>;
			enable-gpios = <&tlmm 57 GPIO_ACTIVE_HIGH>;
		};
	};
};

&i2c2 {
	status = "okay";

	touchscreen@48 {
		compatible = "himax,hx83112a";
		reg = <0x48>;
		interrupts-extended = <&tlmm 88 IRQ_TYPE_LEVEL_LOW>;
		reset-gpios = <&tlmm 87 GPIO_ACTIVE_LOW>;
		touchscreen-size-x = <1080>;
		touchscreen-size-y = <1920>;
	};
};

&i2c5 {
	status = "okay";

	touchscreen@38 {
		compatible = "focaltech,ft5452";
		reg = <0x38>;
		interrupts-extended = <&tlmm 26 IRQ_TYPE_EDGE_FALLING>;
		reset-gpios = <&tlmm 27 GPIO_ACTIVE_LOW>;
		vcc-supply = <&vreg_ts2_power>;
		iovcc-supply = <&vreg_lcm2_vddio>;
		touchscreen-size-x = <1280>;
		touchscreen-size-y = <960>;
	};
};

&dispcc {
	clocks = <&rpmcc RPM_SMD_XO_CLK_SRC>,
		 <&mdss_dsi0_phy DSI_BYTE_PLL_CLK>,
		 <&mdss_dsi0_phy DSI_PIXEL_PLL_CLK>,
		 <0>,
		 <&usb_qmpphy QMP_USB43DP_DP_LINK_CLK>,
		 <&usb_qmpphy QMP_USB43DP_DP_VCO_DIV_CLK>,
		 <&gcc GCC_DISP_AHB_CLK>,
		 <&gcc GCC_DISP_GPLL0_DIV_CLK_SRC>;
};

&mdss {
	status = "okay";

	mdss_dp0: displayport-controller@5e90000 {
		compatible = "qcom,sm6125-dp", "qcom,sm8150-dp",
			     "qcom,sm8350-dp";
		reg = <0x05e90000 0x200>,
		      <0x05e90200 0x200>,
		      <0x05e90400 0x600>,
		      <0x05e90a00 0x600>,
		      <0x05e91000 0x600>;

		interrupt-parent = <&mdss>;
		interrupts = <12>;

		clocks = <&dispcc DISP_CC_MDSS_AHB_CLK>,
			 <&dispcc DISP_CC_MDSS_DP_AUX_CLK>,
			 <&dispcc DISP_CC_MDSS_DP_LINK_CLK>,
			 <&dispcc DISP_CC_MDSS_DP_LINK_INTF_CLK>,
			 <&dispcc DISP_CC_MDSS_DP_PIXEL_CLK>;
		clock-names = "core_iface",
			      "core_aux",
			      "ctrl_link",
			      "ctrl_link_iface",
			      "stream_pixel";

		assigned-clocks = <&dispcc DISP_CC_MDSS_DP_LINK_CLK_SRC>,
				  <&dispcc DISP_CC_MDSS_DP_PIXEL_CLK_SRC>;
		assigned-clock-parents = <&usb_qmpphy QMP_USB43DP_DP_LINK_CLK>,
					 <&usb_qmpphy QMP_USB43DP_DP_VCO_DIV_CLK>;

		phys = <&usb_qmpphy QMP_USB43DP_DP_PHY>;
		phy-names = "dp";

		operating-points-v2 = <&dp_opp_table>;
		power-domains = <&rpmpd RPMPD_VDDCX>;

		pinctrl-0 = <&dp_en>;
		pinctrl-names = "default";

		#sound-dai-cells = <0>;

		status = "okay";

		ports {
			#address-cells = <1>;
			#size-cells = <0>;

			port@0 {
				reg = <0>;
				mdss_dp0_in: endpoint {
					remote-endpoint = <&dpu_intf0_out>;
				};
			};

			port@1 {
				reg = <1>;
				mdss_dp0_out: endpoint {
					remote-endpoint = <&wl818s_in>;
				};
			};
		};

		dp_opp_table: opp-table {
			compatible = "operating-points-v2";

			opp-162000000 {
				opp-hz = /bits/ 64 <162000000>;
				required-opps = <&rpmpd_opp_low_svs>;
			};

			opp-270000000 {
				opp-hz = /bits/ 64 <270000000>;
				required-opps = <&rpmpd_opp_svs>;
			};

			opp-540000000 {
				opp-hz = /bits/ 64 <540000000>;
				required-opps = <&rpmpd_opp_svs_plus>;
			};
		};
	};
};

&mdss_mdp {
	ports {
		port@1 {
			reg = <1>;
			dpu_intf0_out: endpoint {
				remote-endpoint = <&mdss_dp0_in>;
			};
		};
	};
};

&mdss_dsi0 {
	vdda-supply = <&vreg_l18a>;
	status = "okay";

	panel: panel@0 {
		compatible = "retroidpocket,duolite-hx83112a";
		reg = <0>;

		vdd1-supply = <&vreg_l9a>;
		vci-supply = <&vreg_panel_vci>;
		vsp-supply = <&lcdb_ldo>;
		vsn-supply = <&lcdb_ncp>;
		backlight = <&panel_backlight>;

		enable-gpios = <&tlmm 47 GPIO_ACTIVE_HIGH>;
		reset-gpios = <&tlmm 90 GPIO_ACTIVE_LOW>;

		pinctrl-0 = <&mdss_dsi_active>, <&mdp_vsync_active>;
		pinctrl-1 = <&mdss_dsi_suspend>, <&mdp_vsync_suspend>;
		pinctrl-names = "default", "sleep";

		rotation = <270>;

		port {
			panel_in: endpoint {
				remote-endpoint = <&mdss_dsi0_out>;
			};
		};
	};
};

&mdss_dsi0_out {
	data-lanes = <0 1 2 3>;
	remote-endpoint = <&panel_in>;
};

&mdss_dsi0_phy {
	status = "okay";
};

&spmi_bus {
	/delete-property/ interrupts;
	interrupts-extended = <&mpm 86 IRQ_TYPE_LEVEL_HIGH>;

	pmic@2 {
		pmi632_charger: charger@1000 {
			compatible = "qcom,pmi632-charger";
			reg = <0x1000>;

			interrupts = <0x2 0x13 0x4 IRQ_TYPE_EDGE_BOTH>,
				     <0x2 0x12 0x2 IRQ_TYPE_EDGE_BOTH>,
				     <0x2 0x16 0x1 IRQ_TYPE_EDGE_RISING>,
				     <0x2 0x13 0x7 IRQ_TYPE_EDGE_RISING>,
				     <0x2 0x48 0x4 IRQ_TYPE_EDGE_RISING>,
				     <0x2 0x13 0x6 IRQ_TYPE_EDGE_RISING>;
			interrupt-names = "usb-plugin",
					  "bat-ov",
					  "wdog-bark",
					  "usbin-icl-change",
					  "good-ocv",
					  "usbin-src-change";

			io-channels = <&pmi632_adc ADC5_USB_IN_I>,
				      <&pmi632_adc ADC5_USB_IN_V_16>,
				      <&pmi632_adc ADC5_VBAT_SNS>,
				      <&pmi632_adc ADC5_BAT_THERM_100K_PU>,
				      <&pmi632_adc ADC5_BAT_ID_100K_PU>;
			io-channel-names = "usbin_i", "usbin_v", "vbat",
					   "bat_therm", "bat_id";

			monitored-battery = <&battery>;
			qcom,batt-id-pullup-ohms = <100000>;
			qcom,auto-recharge-microvolt = <4450000>;

			qcom,hvdcp-input-current-microamp = <2000000>;

			qcom,jeita-hard-thresholds = <0x58cd 0x181d>;
			qcom,jeita-soft-thresholds = <0x4621 0x20b8>;
			qcom,jeita-soft-fcc-microamp = <1500000 1800000>;

			qcom,thermal-mitigation = <3000000 2000000 1000000 500000>;

			#cooling-cells = <2>;
		};
	};

	pmic@3 {
		lcdb {
			compatible = "qcom,pmi632-lcdb";

			lcdb_ldo: ldo {
				regulator-name = "lcdb_ldo";
				regulator-min-microvolt = <5500000>;
				regulator-max-microvolt = <5500000>;
			};

			lcdb_ncp: ncp {
				regulator-name = "lcdb_ncp";
				regulator-min-microvolt = <5500000>;
				regulator-max-microvolt = <5500000>;
			};
		};
	};
};

&pm6125_gpios {
	vol_up_n: vol-up-n-state {
		pins = "gpio5";
		function = "normal";
		power-source = <0>;
		bias-pull-up;
		input-enable;
	};
};

&pm6125_pwm {
	status = "okay";
};

&pmi632_adc {
	channel@4a {
		reg = <ADC5_BAT_THERM_100K_PU>;
		qcom,hw-settle-time = <200>;
		qcom,pre-scaling = <1 1>;
		qcom,ratiometric;
		label = "bat_therm";
	};
};

&pmi632_lpg {
	status = "okay";

	multi-led {
		color = <LED_COLOR_ID_RGB>;
		function = LED_FUNCTION_STATUS;

		#address-cells = <1>;
		#size-cells = <0>;

		led@1 {
			reg = <1>;
			color = <LED_COLOR_ID_RED>;
		};

		led@2 {
			reg = <2>;
			color = <LED_COLOR_ID_GREEN>;
		};

		led@3 {
			reg = <3>;
			color = <LED_COLOR_ID_BLUE>;
		};
	};
};

&pmi632_typec {
	status = "okay";

	connector {
		compatible = "usb-c-connector";

		power-role = "dual";
		data-role = "dual";
		self-powered;

		typec-power-opmode = "default";
		pd-disable;

		vbus-supply = <&pmi632_vbus>;

		port {
			pmi632_hs_in: endpoint {
				remote-endpoint = <&usb3_hs>;
			};
		};
	};
};

&pmi632_vbus {
	regulator-min-microamp = <500000>;
	regulator-max-microamp = <1000000>;
	status = "okay";
};

&pon_pwrkey {
	status = "okay";
};

&pon_resin {
	linux,code = <KEY_VOLUMEDOWN>;
	status = "okay";
};

&qupv3_id_0 {
	status = "okay";

	uart3: serial@4a8c000 {
		compatible = "qcom,geni-uart";
		reg = <0x04a8c000 0x4000>;
		clocks = <&gcc GCC_QUPV3_WRAP0_S3_CLK>;
		clock-names = "se";
		interrupts = <GIC_SPI 330 IRQ_TYPE_LEVEL_HIGH>;
		pinctrl-0 = <&qup_uart3_default>;
		pinctrl-names = "default";

		bottom_backlight: backlight {
			compatible = "retroidpocket,wl818s-backlight";
			vdd-supply = <&vreg_wl818s_dvdd>;
		};
	};

	uart0: serial@4a80000 {
		compatible = "qcom,geni-uart";
		reg = <0x04a80000 0x4000>;
		clocks = <&gcc GCC_QUPV3_WRAP0_S0_CLK>;
		clock-names = "se";
		interrupts = <GIC_SPI 327 IRQ_TYPE_LEVEL_HIGH>;
		pinctrl-0 = <&qup_uart0_default>;
		pinctrl-names = "default";

		gamepad {
			compatible = "gamepad,rsinput";

			gamepad-name = "Retroid Pocket Duo Lite Gamepad";
			gamepad-bus = <0x0003>;
			gamepad-vid = <0x2f24>;
			gamepad-pid = <0x0001>;
			gamepad-rev = <0x0001>;
			digital-triggers;
			auto-center;
			axis-range = <850>;

			vdd-supply = <&vreg_mcu_uart>;
			enable-gpios = <&tlmm 86 GPIO_ACTIVE_HIGH>;
			boot-gpios = <&tlmm 70 GPIO_ACTIVE_HIGH>;
			reset-gpios = <&tlmm 85 GPIO_ACTIVE_HIGH>;
		};
	};
};

&qupv3_id_1 {
	status = "okay";

	uart9: serial@4c90000 {
		compatible = "qcom,geni-uart";
		reg = <0x04c90000 0x4000>;
		clocks = <&gcc GCC_QUPV3_WRAP1_S4_CLK>;
		clock-names = "se";
		interrupts = <GIC_SPI 312 IRQ_TYPE_LEVEL_HIGH>;
		pinctrl-0 = <&qup_uart9_default>;
		pinctrl-1 = <&qup_uart9_sleep>;
		pinctrl-names = "default", "sleep";

		bluetooth {
			compatible = "qcom,wcn3950-bt";

			vddio-supply = <&vreg_pmu_io>;
			vddxo-supply = <&vreg_pmu_xo>;
			vddrf-supply = <&vreg_pmu_rf>;
			vddch0-supply = <&vreg_pmu_ch0>;
			max-speed = <3200000>;

			firmware-name = "retroid-duolite/cmnv13.bin";
		};
	};
};

&rpm_requests {
	regulators-0 {
		compatible = "qcom,rpm-pm6125-regulators";

		vreg_s6a: s6 {
			regulator-min-microvolt = <936000>;
			regulator-max-microvolt = <1422000>;
		};

		vreg_l1a: l1 {
			regulator-min-microvolt = <1200000>;
			regulator-max-microvolt = <1256000>;
		};

		vreg_l2a: l2 {
			regulator-min-microvolt = <1000000>;
			regulator-max-microvolt = <1056000>;
		};

		vreg_l3a: l3 {
			regulator-min-microvolt = <1000000>;
			regulator-max-microvolt = <1064000>;
		};

		vreg_l4a: l4 {
			regulator-min-microvolt = <872000>;
			regulator-max-microvolt = <976000>;
			regulator-allow-set-load;
		};

		vreg_l5a: l5 {
			regulator-min-microvolt = <1648000>;
			regulator-max-microvolt = <2950000>;
			regulator-allow-set-load;
		};

		vreg_l6a: l6 {
			regulator-min-microvolt = <576000>;
			regulator-max-microvolt = <656000>;
		};

		vreg_l7a: l7 {
			regulator-min-microvolt = <872000>;
			regulator-max-microvolt = <976000>;
		};

		vreg_l8a: l8 {
			regulator-min-microvolt = <640000>;
			regulator-max-microvolt = <640000>;
		};

		vreg_l9a: l9 {
			regulator-min-microvolt = <1800000>;
			regulator-max-microvolt = <1896000>;
		};

		vreg_l10a: l10 {
			regulator-min-microvolt = <1800000>;
			regulator-max-microvolt = <1896000>;
			regulator-allow-set-load;
		};

		vreg_l11a: l11 {
			regulator-min-microvolt = <1800000>;
			regulator-max-microvolt = <1952000>;
			regulator-allow-set-load;
		};

		vreg_l12a: l12 {
			regulator-min-microvolt = <1800000>;
			regulator-max-microvolt = <1996000>;
		};

		vreg_l13a: l13 {
			regulator-min-microvolt = <1800000>;
			regulator-max-microvolt = <1832000>;
		};

		vreg_l14a: l14 {
			regulator-min-microvolt = <1800000>;
			regulator-max-microvolt = <1904000>;
		};

		vreg_l15a: l15 {
			regulator-min-microvolt = <3104000>;
			regulator-max-microvolt = <3232000>;
		};

		vreg_l16a: l16 {
			regulator-min-microvolt = <1800000>;
			regulator-max-microvolt = <1904000>;
		};

		vreg_l17a: l17 {
			regulator-min-microvolt = <1304000>;
			regulator-max-microvolt = <1304000>;
		};

		vreg_l18a: l18 {
			regulator-min-microvolt = <1200000>;
			regulator-max-microvolt = <1264000>;
			regulator-allow-set-load;
		};

		vreg_l19a: l19 {
			regulator-min-microvolt = <1648000>;
			regulator-max-microvolt = <2952000>;
		};

		vreg_l20a: l20 {
			regulator-min-microvolt = <1648000>;
			regulator-max-microvolt = <2952000>;
		};

		vreg_l21a: l21 {
			regulator-min-microvolt = <2600000>;
			regulator-max-microvolt = <2856000>;
		};

		vreg_l22a: l22 {
			regulator-min-microvolt = <2944000>;
			regulator-max-microvolt = <2950000>;
			regulator-allow-set-load;
		};

		vreg_l23a: l23 {
			regulator-min-microvolt = <3000000>;
			regulator-max-microvolt = <3400000>;
		};

		vreg_l24a: l24 {
			regulator-min-microvolt = <2944000>;
			regulator-max-microvolt = <2950000>;
			regulator-allow-set-load;
		};
	};
};

/* TZ needs the crypto engine clocked to authenticate PAS images (zap shader) */
&scm {
	clocks = <&rpmcc RPM_SMD_CE1_CLK>;
	clock-names = "core";
};

&sdhc_1 {
	vmmc-supply = <&vreg_l24a>;
	vqmmc-supply = <&vreg_l11a>;

	mmc-ddr-1_8v;
	mmc-hs200-1_8v;
	mmc-hs400-1_8v;
	mmc-hs400-enhanced-strobe;
	cap-mmc-hw-reset;
	no-sd;
	no-sdio;

	status = "okay";
};

&sdc2_off_state {
	sd-cd-pins {
		pins = "gpio98";
		function = "gpio";
		drive-strength = <2>;
		bias-disable;
	};
};

&sdc2_on_state {
	sd-cd-pins {
		pins = "gpio98";
		function = "gpio";
		drive-strength = <2>;
		bias-pull-up;
	};
};

&sdhc_2 {
	cd-gpios = <&tlmm 98 GPIO_ACTIVE_LOW>;
	vmmc-supply = <&vreg_l22a>;
	vqmmc-supply = <&vreg_l5a>;
	no-sdio;
	no-mmc;
	status = "okay";
};

&tlmm {
	gpio-reserved-ranges = <32 2>;
	wakeup-parent = <&mpm>;

	mdp_vsync_active: mdp-vsync-active-state {
		pins = "gpio89";
		function = "mdp_vsync";
		drive-strength = <2>;
		bias-pull-down;
	};

	mdp_vsync_suspend: mdp-vsync-suspend-state {
		pins = "gpio89";
		function = "mdp_vsync";
		drive-strength = <2>;
		bias-pull-down;
	};

	mdss_dsi_active: dsi-active-state {
		pins = "gpio90";
		function = "gpio";
		drive-strength = <8>;
		bias-disable;
	};

	mdss_dsi_suspend: dsi-suspend-state {
		pins = "gpio90";
		function = "gpio";
		drive-strength = <2>;
		bias-pull-down;
	};

	dp_en: dp-en-state {
		pins = "gpio97";
		function = "gpio";
		drive-strength = <2>;
		bias-disable;
		output-high;
	};

	qup_uart3_default: qup-uart3-default-state {
		pins = "gpio14", "gpio15";
		function = "qup03_2";
		drive-strength = <2>;
		bias-disable;
	};

	qup_uart0_default: qup-uart0-default-state {
		pins = "gpio2", "gpio3";
		function = "qup00";
		drive-strength = <2>;
		bias-pull-up;
	};

	panel_vci_en: panel-vci-en-state {
		pins = "gpio95";
		function = "gpio";
		drive-strength = <2>;
		bias-disable;
	};

	qup_uart9_default: qup-uart9-default-state {
		cts-pins {
			pins = "gpio10";
			function = "qup14";
			drive-strength = <2>;
			bias-bus-hold;
		};

		rts-pins {
			pins = "gpio11";
			function = "qup14";
			drive-strength = <2>;
			bias-disable;
		};

		tx-pins {
			pins = "gpio12";
			function = "qup14";
			drive-strength = <2>;
			bias-disable;
		};

		rx-pins {
			pins = "gpio13";
			function = "qup14";
			drive-strength = <2>;
			bias-pull-up;
		};
	};

	qup_uart9_sleep: qup-uart9-sleep-state {
		cts-pins {
			pins = "gpio10";
			function = "gpio";
			drive-strength = <2>;
			bias-bus-hold;
		};

		rts-pins {
			pins = "gpio11";
			function = "gpio";
			drive-strength = <2>;
			bias-pull-down;
		};

		tx-pins {
			pins = "gpio12";
			function = "gpio";
			drive-strength = <2>;
			bias-pull-up;
		};

		rx-pins {
			pins = "gpio13";
			function = "gpio";
			drive-strength = <2>;
			bias-pull-up;
		};
	};

	sw_ctrl_default: sw-ctrl-default-state {
		pins = "gpio96";
		function = "gpio";
		bias-pull-down;
	};

	hall_default: hall-default-state {
		pins = "gpio94";
		function = "gpio";
		drive-strength = <2>;
		bias-disable;
	};

	fan_tach_default: fan-tach-default-state {
		pins = "gpio0";
		function = "gpio";
		drive-strength = <2>;
		bias-disable;
		input-enable;
	};

	fan_en_default: fan-en-default-state {
		pins = "gpio1";
		function = "gpio";
		drive-strength = <2>;
		bias-disable;
	};

	fan_pwm_default: fan-pwm-default-state {
		pins = "gpio45";
		function = "gcc_gp1";
		drive-strength = <2>;
		bias-pull-up;
	};

	dmic23_active: dmic23-active-state {
		clk-pins {
			pins = "gpio127";
			function = "dmic1_clk";
			drive-strength = <8>;
			bias-disable;
		};

		data-pins {
			pins = "gpio128";
			function = "dmic1_data";
			drive-strength = <8>;
			bias-disable;
		};
	};

	rx_swr_active: rx-swr-active-state {
		clk-pins {
			pins = "gpio110";
			function = "swr_rx";
			drive-strength = <10>;
			bias-bus-hold;
		};

		data-pins {
			pins = "gpio111", "gpio112";
			function = "swr_rx";
			drive-strength = <10>;
			bias-bus-hold;
		};
	};

	tx_swr_active: tx-swr-active-state {
		clk-pins {
			pins = "gpio106";
			function = "swr_tx";
			drive-strength = <10>;
			bias-bus-hold;
		};

		data-pins {
			pins = "gpio107", "gpio108";
			function = "swr_tx";
			drive-strength = <10>;
			bias-bus-hold;
		};
	};

	wcd_reset_default: wcd-reset-default-state {
		pins = "gpio120";
		function = "gpio";
		drive-strength = <16>;
		bias-disable;
	};

	pri_mi2s_active: pri-mi2s-active-state {
		sck-pins {
			pins = "gpio113";
			function = "pri_mi2s";
			drive-strength = <8>;
			bias-disable;
		};

		ws-pins {
			pins = "gpio114";
			function = "pri_mi2s_ws";
			drive-strength = <8>;
			bias-disable;
		};

		data-pins {
			pins = "gpio115", "gpio116";
			function = "pri_mi2s";
			drive-strength = <8>;
			bias-disable;
		};
	};

	wl818s_boot_default: wl818s-boot-default-state {
		pins = "gpio43";
		function = "gpio";
		drive-strength = <2>;
		bias-disable;
		output-low;
	};
};

&uart4 {
	status = "okay";
};

/* Mainline has a better way to handle this through non-legacy glue, so we remove this. */
/delete-node/ &usb3_dwc3;

&usb3 {
	compatible = "qcom,sm6125-dwc3", "qcom,snps-dwc3";
	reg = <0x04e00000 0xfc100>;
	/delete-property/ #address-cells;
	/delete-property/ #size-cells;
	/delete-property/ ranges;

	/delete-property/ interrupts;
	interrupts-extended = <&intc GIC_SPI 255 IRQ_TYPE_LEVEL_HIGH>,
			      <&intc GIC_SPI 302 IRQ_TYPE_LEVEL_HIGH>,
			      <&mpm 90 IRQ_TYPE_LEVEL_HIGH>,
			      <&intc GIC_SPI 254 IRQ_TYPE_LEVEL_HIGH>,
			      <&mpm 12 IRQ_TYPE_LEVEL_HIGH>;
	interrupt-names = "dwc_usb3",
			  "pwr_event",
			  "qusb2_phy",
			  "hs_phy_irq",
			  "ss_phy_irq";

	iommus = <&apps_smmu 0x100 0x0>;
	phys = <&hsusb_phy1>;
	phy-names = "usb2-phy";

	snps,dis_u2_susphy_quirk;
	snps,dis_enblslpm_quirk;
	snps,dis-u1-entry-quirk;
	snps,dis-u2-entry-quirk;
	/* Unstable at higher speeds and I'm unsure if it's supposed to run that way anyway? */
	maximum-speed = "high-speed";
	dr_mode = "otg";
	usb-role-switch;

	status = "okay";

	port {
		usb3_hs: endpoint {
			remote-endpoint = <&pmi632_hs_in>;
		};
	};
};

&{/cpus} {
	idle-states {
		entry-method = "psci";

		little_cpu_sleep_0: cpu-sleep-0-0 {
			compatible = "arm,idle-state";
			idle-state-name = "silver-power-collapse";
			arm,psci-suspend-param = <0x40000003>;
			entry-latency-us = <290>;
			exit-latency-us = <376>;
			min-residency-us = <1182>;
			local-timer-stop;
		};

		big_cpu_sleep_0: cpu-sleep-1-0 {
			compatible = "arm,idle-state";
			idle-state-name = "gold-power-collapse";
			arm,psci-suspend-param = <0x40000003>;
			entry-latency-us = <297>;
			exit-latency-us = <324>;
			min-residency-us = <1110>;
			local-timer-stop;
		};
	};

	domain-idle-states {
		cluster_0_sleep_0: cluster-sleep-0-0 {
			compatible = "domain-idle-state";
			idle-state-name = "silver-l2-power-collapse";
			arm,psci-suspend-param = <0x41000043>;
			entry-latency-us = <640>;
			exit-latency-us = <1654>;
			min-residency-us = <8094>;
		};

		cluster_1_sleep_0: cluster-sleep-1-0 {
			compatible = "domain-idle-state";
			idle-state-name = "gold-l2-power-collapse";
			arm,psci-suspend-param = <0x41000043>;
			entry-latency-us = <800>;
			exit-latency-us = <2118>;
			min-residency-us = <7376>;
		};

		apss_sleep_0: apss-sleep-0 {
			compatible = "domain-idle-state";
			idle-state-name = "apss-power-collapse";
			arm,psci-suspend-param = <0x42000343>;
			entry-latency-us = <10831>;
			exit-latency-us = <4506>;
			min-residency-us = <15338>;
		};
	};
};

&{/psci} {
	cpu_pd0: power-domain-cpu0 {
		#power-domain-cells = <0>;
		power-domains = <&cluster_0_pd>;
		domain-idle-states = <&little_cpu_sleep_0>;
	};

	cpu_pd1: power-domain-cpu1 {
		#power-domain-cells = <0>;
		power-domains = <&cluster_0_pd>;
		domain-idle-states = <&little_cpu_sleep_0>;
	};

	cpu_pd2: power-domain-cpu2 {
		#power-domain-cells = <0>;
		power-domains = <&cluster_0_pd>;
		domain-idle-states = <&little_cpu_sleep_0>;
	};

	cpu_pd3: power-domain-cpu3 {
		#power-domain-cells = <0>;
		power-domains = <&cluster_0_pd>;
		domain-idle-states = <&little_cpu_sleep_0>;
	};

	cpu_pd4: power-domain-cpu4 {
		#power-domain-cells = <0>;
		power-domains = <&cluster_1_pd>;
		domain-idle-states = <&big_cpu_sleep_0>;
	};

	cpu_pd5: power-domain-cpu5 {
		#power-domain-cells = <0>;
		power-domains = <&cluster_1_pd>;
		domain-idle-states = <&big_cpu_sleep_0>;
	};

	cpu_pd6: power-domain-cpu6 {
		#power-domain-cells = <0>;
		power-domains = <&cluster_1_pd>;
		domain-idle-states = <&big_cpu_sleep_0>;
	};

	cpu_pd7: power-domain-cpu7 {
		#power-domain-cells = <0>;
		power-domains = <&cluster_1_pd>;
		domain-idle-states = <&big_cpu_sleep_0>;
	};

	cluster_0_pd: power-domain-cpu-cluster0 {
		#power-domain-cells = <0>;
		power-domains = <&apss_pd>;
		domain-idle-states = <&cluster_0_sleep_0>;
	};

	cluster_1_pd: power-domain-cpu-cluster1 {
		#power-domain-cells = <0>;
		power-domains = <&apss_pd>;
		domain-idle-states = <&cluster_1_sleep_0>;
	};

	apss_pd: power-domain-apss {
		#power-domain-cells = <0>;
		domain-idle-states = <&apss_sleep_0>;
	};
};

&rpm_msg_ram {
	compatible = "qcom,rpm-msg-ram", "mmio-sram";
	#address-cells = <1>;
	#size-cells = <1>;
	ranges = <0 0x045f0000 0x7000>;

	apss_mpm: sram@1b8 {
		reg = <0x1b8 0x48>;
	};

	apss_master_stats: sram@150 {
		reg = <0x150 0x50>;
	};

	mpss_master_stats: sram@1150 {
		reg = <0x1150 0x50>;
	};

	adsp_master_stats: sram@2150 {
		reg = <0x2150 0x50>;
	};

	cdsp_master_stats: sram@3150 {
		reg = <0x3150 0x50>;
	};

	tz_master_stats: sram@4150 {
		reg = <0x4150 0x50>;
	};
};

&{/soc@0} {
	mpm: interrupt-controller {
		compatible = "qcom,mpm";
		qcom,rpm-msg-ram = <&apss_mpm>;
		interrupts = <GIC_SPI 197 IRQ_TYPE_EDGE_RISING>;
		mboxes = <&apcs_glb 1>;
		interrupt-controller;
		#interrupt-cells = <2>;
		#power-domain-cells = <0>;
		interrupt-parent = <&intc>;
		power-domains = <&apss_pd>;
		qcom,mpm-pin-count = <96>;
		qcom,mpm-pin-map = <12 422>,	/* DWC3 ss_phy_irq */
				   <86 183>,	/* SPMI / PMIC wake */
				   <90 260>;	/* DWC3 qusb2_phy DP+DM wake */
	};

	psci-suspend-fallback {
		compatible = "qcom,psci-suspend-fallback";
		qcom,suspend-state-id = <0x42000343>;
	};

	rpm-master-stats {
		compatible = "qcom,rpm-master-stats";
		qcom,rpm-msg-ram = <&apss_master_stats>,
				   <&mpss_master_stats>,
				   <&adsp_master_stats>,
				   <&cdsp_master_stats>,
				   <&tz_master_stats>;
		qcom,master-names = "APSS", "MPSS", "ADSP", "CDSP", "TZ";
	};
};
